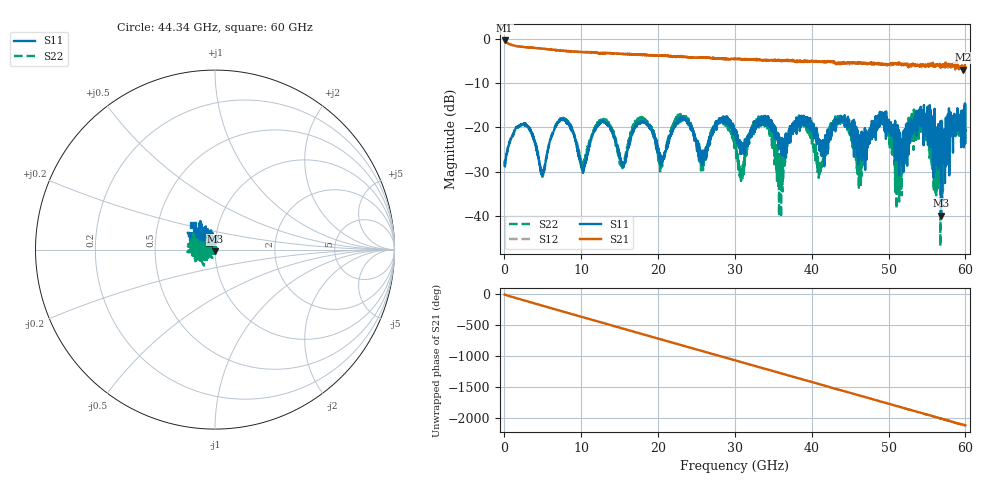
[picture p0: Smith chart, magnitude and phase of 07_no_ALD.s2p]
! File created by 'SoftPlot +Plus+ Measurement Management Software'
! SoftPlot +Plus+ Measurement Management Software
! Start 40.000000 MHz  Stop 60.000000 GHz  Points 1601
# MHZ S RI R 50
! S-Parameter data, F S11 S21 S12 S22
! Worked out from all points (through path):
!   1601 points, 40 MHz to 60 GHz, reference 50 ohm
!   highest |S21| = -0.37 dB at 40 MHz (marker M1); lowest = -6.9 dB at 59.66 GHz (marker M2)
!   group delay of S21, straight-line fit = 98.1 ps
!   lowest |S11| = -39.9 dB at 56.85 GHz (marker M3), VSWR 1.02, Z = 50.2 - j1 ohm
!   |S11| at or under -10 dB: start of sweep to end of sweep
!   |S22| runs from -46.8 to -15.9 dB; largest |S21 - S12| = 0.076
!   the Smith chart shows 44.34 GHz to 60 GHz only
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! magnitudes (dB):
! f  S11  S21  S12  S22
! 40 MHz  -27.7  -0.4  -0.4  -27.6
! 2.551 GHz  -19.1  -1.9  -1.9  -19.2
! 4.987 GHz  -30.7  -2.2  -2.2  -30.0
! 7.572 GHz  -18.3  -2.7  -2.7  -18.1
! 10.05 GHz  -28.9  -3.0  -3.0  -27.8
! 12.71 GHz  -18.7  -3.2  -3.3  -18.3
! 15.33 GHz  -28.5  -3.4  -3.4  -28.0
! 17.73 GHz  -18.6  -3.5  -3.6  -18.6
! 20.05 GHz  -25.5  -3.8  -3.8  -24.5
! 23.05 GHz  -17.6  -4.0  -4.0  -18.0
! 25.9 GHz  -25.9  -4.2  -4.3  -25.2
! 30.02 GHz  -21.0  -4.5  -4.5  -23.4
! 40.03 GHz  -19.7  -5.0  -5.1  -23.7
! 41.11 GHz  -23.0  -5.1  -5.2  -29.9
! 44.04 GHz  -18.4  -5.5  -5.6  -18.9
! 46.25 GHz  -22.7  -5.5  -5.4  -30.1
! 50.03 GHz  -18.2  -5.7  -5.8  -20.8
! 51.16 GHz  -19.4  -5.6  -5.6  -26.2
! 53.59 GHz  -20.7  -5.8  -6.0  -23.3
! 56.85 GHz  -39.9  -6.2  -6.0  -23.7
! 59.66 GHz  -17.6  -6.9  -6.7  -20.1
! 60 GHz  -14.8  -6.4  -6.6  -20.0
